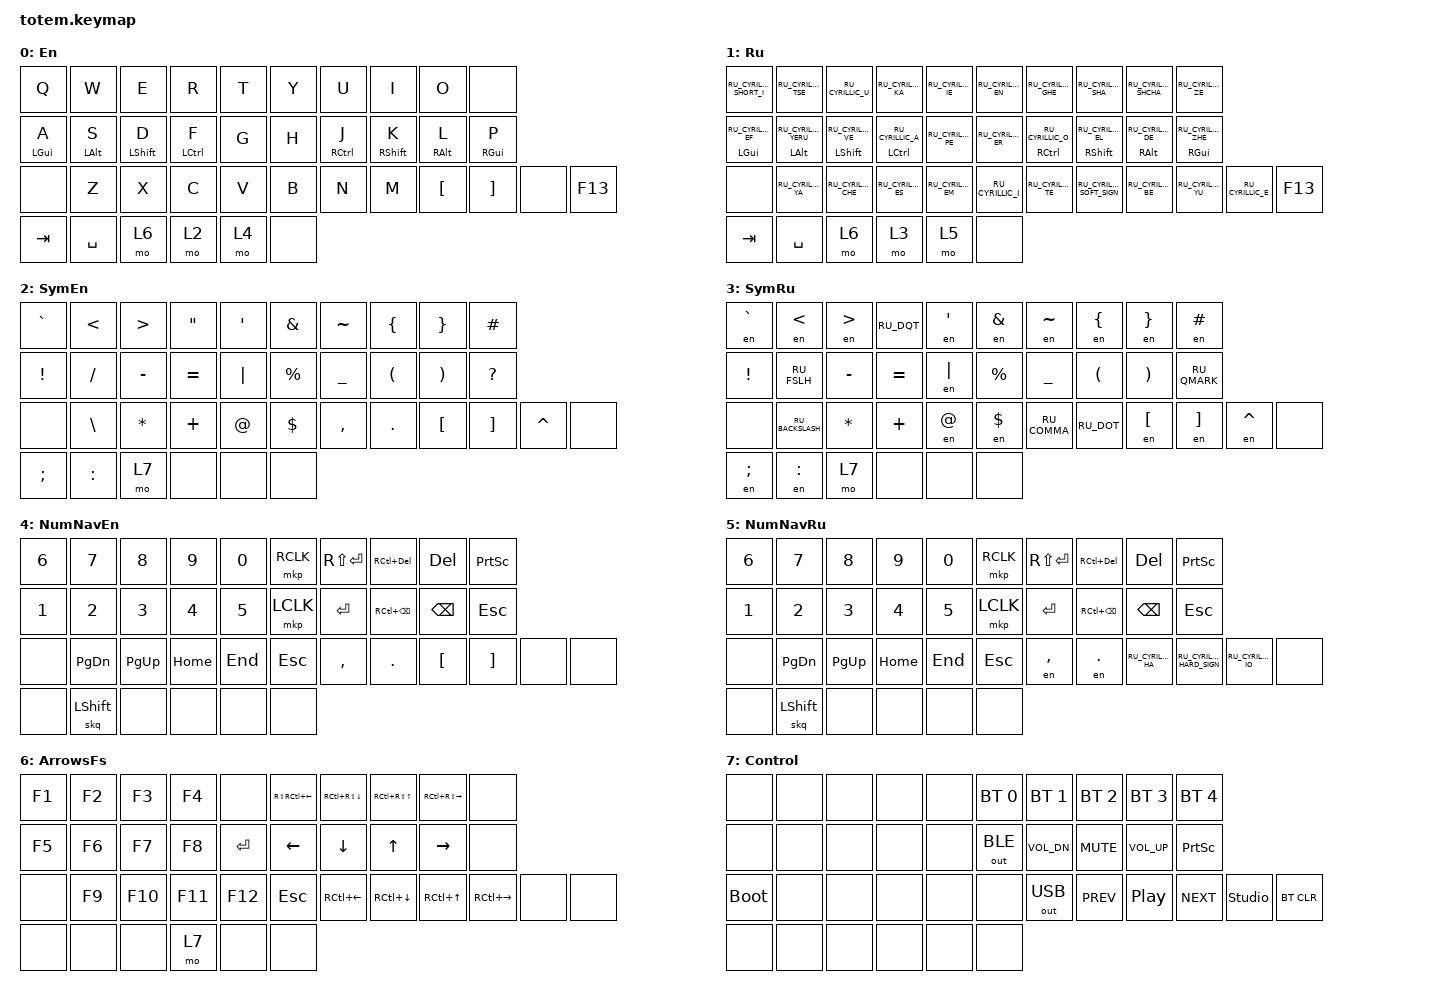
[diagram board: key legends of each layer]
#ifndef KEYMAP_DRAWER

#include "keys_ru.h"

#endif

#include <zephyr/dt-bindings/input/input-event-codes.h>
#include <behaviors.dtsi>
#include <dt-bindings/zmk/bt.h>
#include <dt-bindings/zmk/keys.h>
#include <dt-bindings/zmk/outputs.h>
#include <dt-bindings/zmk/pointing.h>

/ {
    behaviors {
        hmr_l: hmr_l {
            compatible = "zmk,behavior-hold-tap";
            label = "HMR_L";
            bindings = <&kp>, <&kp>;

            #binding-cells = <2>;
            tapping-term-ms = <280>;
            quick-tap-ms = <175>;
            require-prior-idle-ms = <150>;
            flavor = "balanced";
            hold-trigger-on-release;
            hold-trigger-key-positions = <5 6 7 8 9 15 16 17 18 19 26 27 28 29 30 31 35 36 37>;
        };

        hmr_r: hmr_r {
            compatible = "zmk,behavior-hold-tap";
            label = "HMR_R";
            bindings = <&kp>, <&kp>;

            #binding-cells = <2>;
            tapping-term-ms = <280>;
            quick-tap-ms = <175>;
            require-prior-idle-ms = <150>;
            flavor = "balanced";
            hold-trigger-on-release;
            hold-trigger-key-positions = <0 1 2 3 4 10 11 12 13 14 20 21 22 23 24 25 32 33 34>;
        };

        skq: skq {
            compatible = "zmk,behavior-sticky-key";
            label = "SKQ";
            bindings = <&kp>;
            #binding-cells = <1>;
            release-after-ms = <1000>;
            quick-release;
            ignore-modifiers;
        };
    };

    combos {
        compatible = "zmk,combos";

        cmben {
            bindings = <&layer_en>;
            key-positions = <2 3>;
            layers = <1>;
        };

        cmbru {
            bindings = <&layer_ru>;
            key-positions = <3 2>;
            layers = <0>;
        };

        tmux_focus {
            bindings = <&kp LC(SPACE)>;
            key-positions = <33 13>;
            layers = <1 0>;
        };

        ctrl_shift_v_ru {
            bindings = <&en LS(LC(V))>;
            key-positions = <24 21>;
            layers = <1>;
        };

        ctrl_shift_v_en {
            bindings = <&kp LS(LC(V))>;
            key-positions = <21 24>;
            layers = <0>;
        };

        ctrl_shift_c_ru {
            bindings = <&en LS(LC(C))>;
            key-positions = <21 23>;
            layers = <1>;
        };

        ctrl_shift_c_en {
            bindings = <&kp LS(LC(C))>;
            key-positions = <21 23>;
            layers = <0>;
        };

        alt_tab {
            bindings = <&kp LA(TAB)>;
            key-positions = <11 32>;
            layers = <0 1>;
        };

        capslock_one_word {
            bindings = <&caps_word>;
            key-positions = <16 18>;
            layers = <0 1>;
        };

        caps {
            bindings = <&kp CAPSLOCK>;
            key-positions = <16 19>;
            layers = <0 1>;
        };

        window_mode_nvim {
            bindings = <&kp LC(W)>;
            key-positions = <12 33>;
            layers = <0 1>;
        };
    };

    macros {
        to_ru: to_ru {
            compatible = "zmk,behavior-macro";
            #binding-cells = <0>;
            bindings = <&kp LS(LC(N2))>;
            label = "TO_RU";
            wait-ms = <0>;
            tap-ms = <30>;
        };

        to_en: to_en {
            compatible = "zmk,behavior-macro";
            #binding-cells = <0>;
            bindings = <&kp LS(LC(N1))>;
            label = "TO_EN";
            wait-ms = <0>;
            tap-ms = <30>;
        };

        layer_en: layer_en {
            compatible = "zmk,behavior-macro";
            #binding-cells = <0>;
            bindings = <&to 0 &to_en>;
            label = "LAYER_EN";
            wait-ms = <0>;
            tap-ms = <30>;
        };

        layer_ru: layer_ru {
            compatible = "zmk,behavior-macro";
            #binding-cells = <0>;
            bindings = <&to 1 &to_ru>;
            label = "LAYER_RU";
            tap-ms = <30>;
            wait-ms = <0>;
        };

        en: en {
            compatible = "zmk,behavior-macro-one-param";
            #binding-cells = <1>;
            bindings =
                <&to_en>,
                <&macro_press>,
                <&macro_param_1to1 &kp MACRO_PLACEHOLDER>,
                <&macro_pause_for_release>,
                <&macro_release>,
                <&macro_param_1to1 &kp MACRO_PLACEHOLDER>,
                <&macro_tap>,
                <&to_ru>;

            label = "EN";
            wait-ms = <0>;
            tap-ms = <30>;
        };
    };

    keymap {
        compatible = "zmk,keymap";

        en {
            display-name = "En";
            bindings = <
&kp Q              &kp W              &kp E                &kp R           &kp T  &kp Y  &kp U           &kp I                 &kp O               &none
&hmr_l LEFT_GUI A  &hmr_l LEFT_ALT S  &hmr_l LEFT_SHIFT D  &hmr_l LCTRL F  &kp G  &kp H  &hmr_r RCTRL J  &hmr_r RIGHT_SHIFT K  &hmr_r RIGHT_ALT L  &hmr_r RIGHT_GUI P
&none              &kp Z              &kp X                &kp C           &kp V  &kp B  &kp N           &kp M                 &kp LBKT            &kp RBKT            &none  &kp F13
&kp TAB            &kp SPACE          &mo 6                &mo 2           &mo 4  &none
            >;
        };

        ru {
            display-name = "Ru";
            bindings = <
&kp RU_CYRILLIC_SHORT_I         &kp RU_CYRILLIC_TSE               &kp RU_CYRILLIC_U                 &kp RU_CYRILLIC_KA          &kp RU_CYRILLIC_IE  &kp RU_CYRILLIC_EN  &kp RU_CYRILLIC_GHE         &kp RU_CYRILLIC_SHA                &kp RU_CYRILLIC_SHCHA            &kp RU_CYRILLIC_ZE
&hmr_l LEFT_GUI RU_CYRILLIC_EF  &hmr_l LEFT_ALT RU_CYRILLIC_YERU  &hmr_l LEFT_SHIFT RU_CYRILLIC_VE  &hmr_l LCTRL RU_CYRILLIC_A  &kp RU_CYRILLIC_PE  &kp RU_CYRILLIC_ER  &hmr_r RCTRL RU_CYRILLIC_O  &hmr_r RIGHT_SHIFT RU_CYRILLIC_EL  &hmr_r RIGHT_ALT RU_CYRILLIC_DE  &hmr_r RIGHT_GUI RU_CYRILLIC_ZHE
&none                           &kp RU_CYRILLIC_YA                &kp RU_CYRILLIC_CHE               &kp RU_CYRILLIC_ES          &kp RU_CYRILLIC_EM  &kp RU_CYRILLIC_I   &kp RU_CYRILLIC_TE          &kp RU_CYRILLIC_SOFT_SIGN          &kp RU_CYRILLIC_BE               &kp RU_CYRILLIC_YU                &kp RU_CYRILLIC_E  &kp F13
&kp TAB                         &kp SPACE                         &mo 6                             &mo 3                       &mo 5               &none
            >;
        };

        sym_en {
            display-name = "SymEn";
            bindings = <
&kp GRAVE      &kp LESS_THAN  &kp GREATER_THAN  &kp DQT    &kp SQT   &kp AMPERSAND  &kp TILDE  &kp LEFT_BRACE  &kp RIGHT_BRACE  &kp HASH
&kp EXCL       &kp FSLH       &kp MINUS         &kp EQUAL  &kp PIPE  &kp PRCNT      &kp UNDER  &kp LPAR        &kp RPAR         &kp QMARK
&none          &kp BACKSLASH  &kp ASTERISK      &kp PLUS   &kp AT    &kp DOLLAR     &kp COMMA  &kp DOT         &kp LBKT         &kp RBKT   &kp CARET  &none
&kp SEMICOLON  &kp COLON      &mo 7             &none      &none     &none
            >;
        };

        sym_ru {
            display-name = "SymRu";
            bindings = <
&en GRAVE      &en LESS_THAN     &en GREATER_THAN  &kp RU_DQT  &en SQT   &en AMPERSAND  &en TILDE     &en LEFT_BRACE  &en RIGHT_BRACE  &en HASH
&kp EXCL       &kp RU_FSLH       &kp MINUS         &kp EQUAL   &en PIPE  &kp PRCNT      &kp UNDER     &kp LPAR        &kp RPAR         &kp RU_QMARK
&none          &kp RU_BACKSLASH  &kp ASTERISK      &kp PLUS    &en AT    &en DOLLAR     &kp RU_COMMA  &kp RU_DOT      &en LBKT         &en RBKT      &en CARET  &none
&en SEMICOLON  &en COLON         &mo 7             &none       &none     &none
            >;
        };

        num_nav_en {
            display-name = "NumNavEn";
            bindings = <
&kp N6  &kp N7           &kp N8     &kp N9    &kp N0   &mkp RCLK   &kp RS(ENTER)  &kp RC(DELETE)  &kp DELETE  &kp PRINTSCREEN
&kp N1  &kp N2           &kp N3     &kp N4    &kp N5   &mkp LCLK   &kp ENTER      &kp RC(BSPC)    &kp BSPC    &kp ESC
&none   &kp PAGE_DOWN    &kp PG_UP  &kp HOME  &kp END  &kp ESCAPE  &kp COMMA      &kp DOT         &kp LBKT    &kp RBKT         &none  &none
&none   &skq LEFT_SHIFT  &none      &none     &none    &none
            >;
        };

        num_nav_ru {
            display-name = "NumNavRu";
            bindings = <
&kp N6  &kp N7           &kp N8     &kp N9    &kp N0   &mkp RCLK   &kp RS(ENTER)  &kp RC(DELETE)  &kp DELETE          &kp PRINTSCREEN
&kp N1  &kp N2           &kp N3     &kp N4    &kp N5   &mkp LCLK   &kp ENTER      &kp RC(BSPC)    &kp BSPC            &kp ESC
&none   &kp PAGE_DOWN    &kp PG_UP  &kp HOME  &kp END  &kp ESCAPE  &en COMMA      &en DOT         &kp RU_CYRILLIC_HA  &kp RU_CYRILLIC_HARD_SIGN  &kp RU_CYRILLIC_IO  &none
&none   &skq LEFT_SHIFT  &none      &none     &none    &none
            >;
        };

        nav {
            display-name = "ArrowsFs";
            bindings = <
&kp F1  &kp F2  &kp F3   &kp F4   &none      &kp RS(RC(LEFT))  &kp RC(RS(DOWN))  &kp RC(RS(UP))  &kp RC(RS(RIGHT))  &none
&kp F5  &kp F6  &kp F7   &kp F8   &kp ENTER  &kp LEFT          &kp DOWN          &kp UP          &kp RIGHT          &none
&none   &kp F9  &kp F10  &kp F11  &kp F12    &kp ESCAPE        &kp RC(LEFT)      &kp RC(DOWN)    &kp RC(UP)         &kp RC(RIGHT)  &none  &none
&none   &none   &none    &mo 7    &none      &none
            >;
        };

        adj {
            display-name = "Control";
            bindings = <
&none        &none  &none  &none  &none  &bt BT_SEL 0  &bt BT_SEL 1  &bt BT_SEL 2  &bt BT_SEL 3      &bt BT_SEL 4
&none        &none  &none  &none  &none  &out OUT_BLE  &kp C_VOL_DN  &kp C_MUTE    &kp C_VOL_UP      &kp PRINTSCREEN
&bootloader  &none  &none  &none  &none  &none         &out OUT_USB  &kp C_PREV    &kp C_PLAY_PAUSE  &kp C_NEXT       &studio_unlock  &bt BT_CLR
&none        &none  &none  &none  &none  &none
            >;
        };
    };
};
